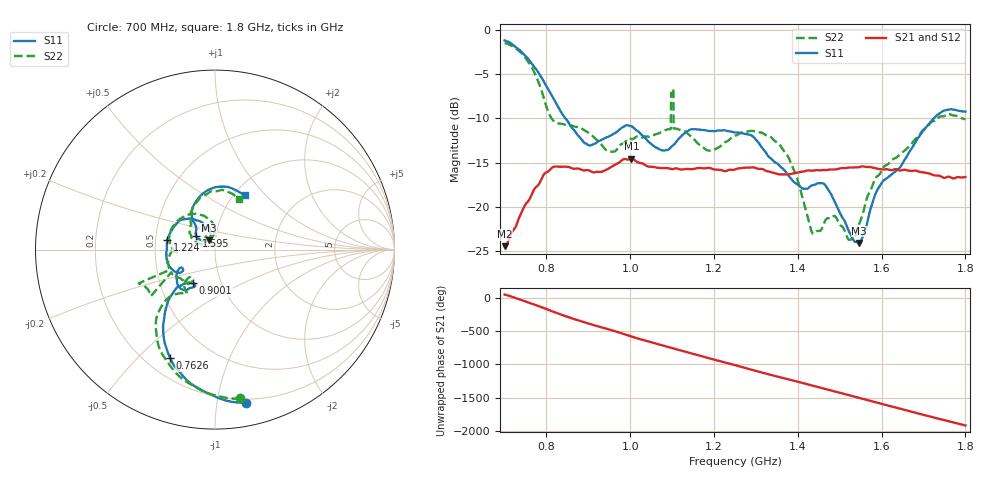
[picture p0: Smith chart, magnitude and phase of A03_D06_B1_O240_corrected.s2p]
! Created with skrf 1.9.0 (http://scikit-rf.org).
# Hz S RI R 50.0
!freq ReS11 ImS11 ReS21 ImS21 ReS12 ImS12 ReS22 ImS22
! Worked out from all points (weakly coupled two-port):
!   1601 points, 700 MHz to 1.8 GHz, reference 50 ohm
!   highest |S21| = -14.55 dB at 1.002 GHz (marker M1); lowest = -24.4 dB at 700.7 MHz (marker M2)
!   lowest |S11| = -24.1 dB at 1.546 GHz (marker M3), VSWR 1.13, Z = 46.4 + j4.86 ohm
!   |S11| at or under -10 dB: 845.4 MHz to 1.724 GHz (879.1 MHz wide, 68.4 % of centre)
!   |S22| runs from -23.7 to -1.5 dB; largest |S21 - S12| = 0.0035
!   S11 on the Smith chart (normalised r, x): 700 MHz: 0.17, -1.21; 762.6 MHz: 0.30, -0.63; 900.1 MHz: 0.73, -0.29; 1.224 GHz: 0.58, +0.07; 1.595 GHz: 0.80, +0.13; 1.8 GHz: 1.12, +0.77
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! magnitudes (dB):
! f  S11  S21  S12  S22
! 700 MHz  -1.2  -24.4  -24.2  -1.5
! 700.7 MHz  -1.2  -24.4  -24.1  -1.5
! 762.6 MHz  -3.7  -18.8  -18.8  -4.1
! 814.8 MHz  -7.6  -15.5  -15.6  -10.2
! 883.6 MHz  -12.4  -15.8  -15.7  -11.1
! 900.1 MHz  -13.0  -15.8  -15.9  -11.6
! 1.002 GHz  -10.9  -14.6  -14.7  -12.3
! 1.067 GHz  -13.4  -15.6  -15.5  -11.7
! 1.103 GHz  -13.0  -15.7  -15.7  -6.7
! 1.109 GHz  -12.7  -15.6  -15.7  -11.1
! 1.179 GHz  -11.3  -15.6  -15.6  -13.5
! 1.224 GHz  -11.3  -15.9  -15.9  -12.8
! 1.25 GHz  -11.6  -15.8  -15.7  -12.0
! 1.357 GHz  -15.4  -16.3  -16.3  -13.0
! 1.434 GHz  -17.6  -15.9  -15.9  -22.8
! 1.466 GHz  -17.6  -15.8  -15.8  -21.5
! 1.524 GHz  -23.0  -15.5  -15.5  -23.7
! 1.546 GHz  -24.1  -15.5  -15.5  -21.9
! 1.595 GHz  -17.6  -15.7  -15.7  -16.3
! 1.617 GHz  -16.6  -15.8  -15.7  -15.1
! 1.733 GHz  -9.6  -16.4  -16.5  -10.1
! 1.8 GHz  -9.2  -16.6  -16.6  -10.1
